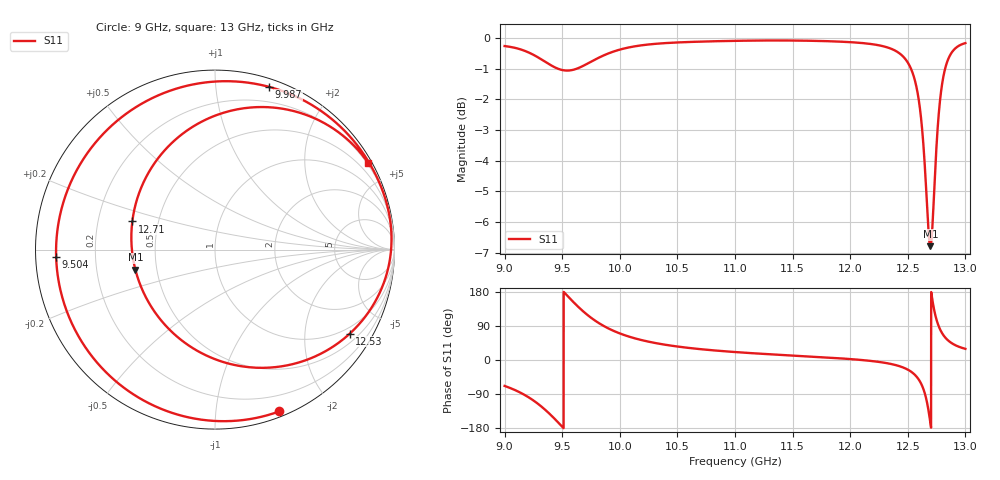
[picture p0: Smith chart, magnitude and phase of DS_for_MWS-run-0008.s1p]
! TOUCHSTONE file generated by CST DESIGN STUDIO
! Date and time: Tue Feb  4 17:33:45 2025
! Project name: C:\Work\MatlabApps\UnitCellOptimizationMatlab\CST\unitcell.cst
! Tree item: Tasks\Sweep1\SPara1\S-Parameters
! Header version: 2024
! Port assignment regex: !\s*Touchstone port\s*([0-9]+)\s*=\s*(CST MWS port|CST DES external port|CST DES block port)\s*(.+)\s* \(\"(.*)\"\)(\s*mode\s*([0-9]+))?.*
! Touchstone port assignment:
! Touchstone port 1 = CST DES external port 1 ("")
# GHz S MA R 50
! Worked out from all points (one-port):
!   4001 points, 9 GHz to 13 GHz, reference 50 ohm
!   lowest |S11| = -6.8 dB at 12.7 GHz (marker M1), VSWR 2.69, Z = 18.9 - j5.31 ohm
!   |S11| at or under -10 dB: nowhere
!   S11 on the Smith chart (normalised r, x): 9 GHz: 0.05, -1.47; 9.504 GHz: 0.06, -0.02; 9.987 GHz: 0.07, +1.38; 12.53 GHz: 0.77, -3.33; 12.71 GHz: 0.35, +0.15; 13 GHz: 0.15, +3.80
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9  0.9699 -68.4
9.164  0.9542 -90.5
9.28  0.9319 -113.4
9.383  0.9068 -139.9
9.5  0.8864 -176.1
9.504  0.886 -177.4
9.598  0.8874 152.6
9.725  0.9091 117.5
9.838  0.9324 93.7
9.987  0.9555 71.7
10  0.957 70.1
10.215  0.974 50.7
10.5  0.9831 35.6
11  0.9891 21.0
11.5  0.9902 11.7
12  0.9842 2.5
12.31  0.9666 -7.9
12.5  0.9116 -25.4
12.534  0.8848 -32.0
12.591  0.8015 -49.7
12.638  0.6593 -78.8
12.667  0.5328 -112.2
12.696  0.4575 -165.9
12.712  0.4867 161.2
12.749  0.6653 106.7
12.787  0.8127 76.6
12.87  0.9393 46.8
13  0.9807 29.4
